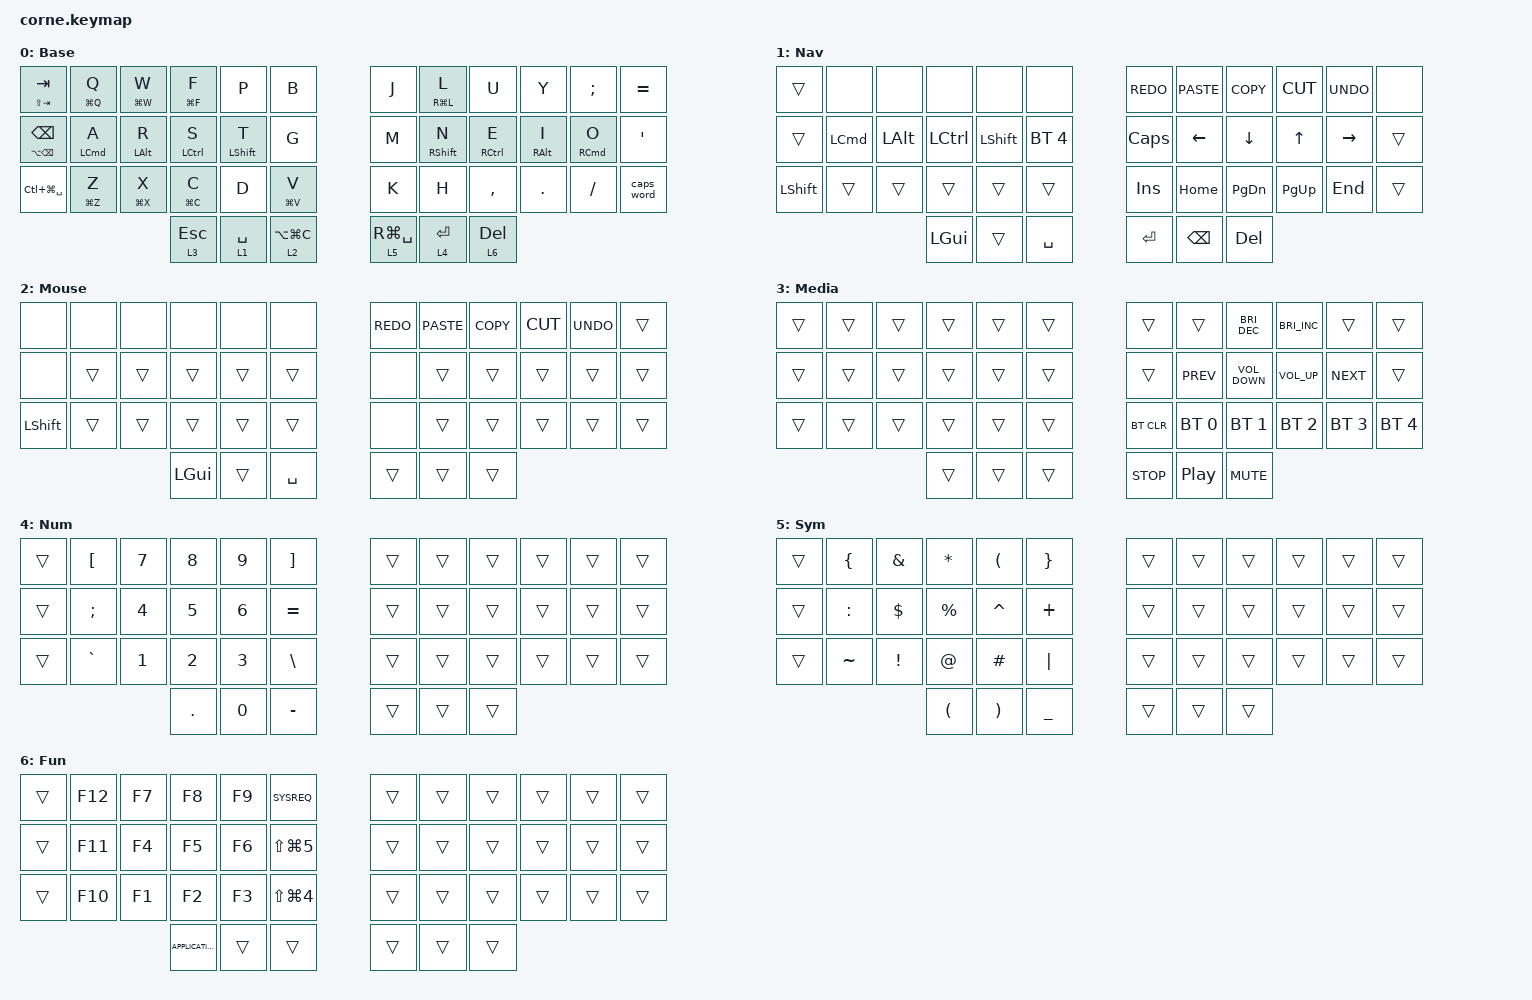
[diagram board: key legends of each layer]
/*
 * Copyright (c) 2020 The ZMK Contributors
 *
 * SPDX-License-Identifier: MIT
 */

#include <behaviors.dtsi>
#include <dt-bindings/zmk/bt.h>
#include <dt-bindings/zmk/keys.h>

&mt {
    tapping-term-ms = <180>;
    quick-tap-ms = <150>;
    global-quick-tap;
    flavor = "tap-preferred";
};

/ {
    keymap {
        compatible = "zmk,keymap";

        default_layer {
            // -----------------------------------------------------------------------------------------
            // |  TAB |  Q  |  W  |  E  |  R  |  T  |   |  Y  |  U   |  I  |  O  |  P  | BKSP |
            // | CTRL |  A  |  S  |  D  |  F  |  G  |   |  H  |  J   |  K  |  L  |  ;  |  '   |
            // | SHFT |  Z  |  X  |  C  |  V  |  B  |   |  N  |  M   |  ,  |  .  |  /  | ESC  |
            //                    | GUI | LWR | SPC |   | ENT | RSE  | ALT |

            label = "Base";
            bindings = <
&mt LS(TAB) TAB              &mt LG(Q) Q         &mt LG(W) W     &mt LG(F) F   &kp P         &kp B              &kp J            &mt RG(L) L  &kp U         &kp Y       &kp SEMICOLON  &kp EQUAL
&mt LA(BACKSPACE) BACKSPACE  &mt LEFT_COMMAND A  &mt LEFT_ALT R  &mt LCTRL S   &mt LSHIFT T  &kp G              &kp M            &mt RSHFT N  &mt RCTRL E   &mt RALT I  &mt RCMD O     &kp SQT
&kp LC(LG(SPACE))            &mt LG(Z) Z         &mt LG(X) X     &mt LG(C) C   &kp D         &mt LG(V) V        &kp K            &kp H        &kp COMMA     &kp DOT     &kp FSLH       &caps_word
                                                                 &lt 3 ESCAPE  &lt 1 SPACE   &lt 2 LA(LG(C))    &lt 5 RG(SPACE)  &lt 4 ENTER  &lt 6 DELETE
            >;
        };

        nav {
            // -----------------------------------------------------------------------------------------
            // |  TAB |  1  |  2  |  3  |  4  |  5  |   |  6  |  7  |  8  |  9  |  0  | BKSP |
            // | BTCLR| BT1 | BT2 | BT3 | BT4 | BT5 |   | LFT | DWN |  UP | RGT |     |      |
            // | SHFT |     |     |     |     |     |   |     |     |     |     |     |      |
            //                    | GUI |     | SPC |   | ENT |     | ALT |

            label = "Nav";
            bindings = <
&trans     &none     &none     &none      &none      &none           &kp K_REDO  &kp K_PASTE     &kp K_COPY      &kp K_CUT     &kp K_UNDO       &none
&trans     &kp LCMD  &kp LALT  &kp LCTRL  &kp LSHFT  &bt BT_SEL 4    &kp CAPS    &kp LEFT_ARROW  &kp DOWN_ARROW  &kp UP_ARROW  &kp RIGHT_ARROW  &trans
&kp LSHFT  &trans    &trans    &trans     &trans     &trans          &kp INS     &kp HOME        &kp PAGE_DOWN   &kp PAGE_UP   &kp END          &trans
                               &kp LGUI   &trans     &kp SPACE       &kp RET     &kp BACKSPACE   &kp DELETE
            >;
        };

        mouse {
            // -----------------------------------------------------------------------------------------
            // |  TAB |  !  |  @  |  #  |  $  |  %  |   |  ^  |  &  |  *  |  (  |  )  | BKSP |
            // | CTRL |     |     |     |     |     |   |  -  |  =  |  [  |  ]  |  \  |  `   |
            // | SHFT |     |     |     |     |     |   |  _  |  +  |  {  |  }  | "|" |  ~   |
            //                    | GUI |     | SPC |   | ENT |     | ALT |

            label = "Mouse";
            bindings = <
&none      &none   &none   &none     &none   &none        &kp K_REDO  &kp K_PASTE  &kp K_COPY  &kp K_CUT  &kp K_UNDO  &trans
&none      &trans  &trans  &trans    &trans  &trans       &none       &trans       &trans      &trans     &trans      &trans
&kp LSHFT  &trans  &trans  &trans    &trans  &trans       &none       &trans       &trans      &trans     &trans      &trans
                           &kp LGUI  &trans  &kp SPACE    &trans      &trans       &trans
            >;
        };

        media {
            bindings = <
&trans  &trans  &trans  &trans  &trans  &trans    &trans      &trans            &kp C_BRIGHTNESS_DEC  &kp C_BRIGHTNESS_INC  &trans        &trans
&trans  &trans  &trans  &trans  &trans  &trans    &trans      &kp C_PREV        &kp C_VOLUME_DOWN     &kp C_VOLUME_UP       &kp C_NEXT    &trans
&trans  &trans  &trans  &trans  &trans  &trans    &bt BT_CLR  &bt BT_SEL 0      &bt BT_SEL 1          &bt BT_SEL 2          &bt BT_SEL 3  &bt BT_SEL 4
                        &trans  &trans  &trans    &kp C_STOP  &kp C_PLAY_PAUSE  &kp K_MUTE
            >;

            label = "Media";
        };

        num {
            bindings = <
&trans  &kp LEFT_BRACKET  &kp NUMBER_7  &kp NUMBER_8  &kp NUMBER_9  &kp RIGHT_BRACKET    &trans  &trans  &trans  &trans  &trans  &trans
&trans  &kp SEMICOLON     &kp NUMBER_4  &kp NUMBER_5  &kp NUMBER_6  &kp EQUAL            &trans  &trans  &trans  &trans  &trans  &trans
&trans  &kp GRAVE         &kp NUMBER_1  &kp NUMBER_2  &kp NUMBER_3  &kp BACKSLASH        &trans  &trans  &trans  &trans  &trans  &trans
                                        &kp PERIOD    &kp NUMBER_0  &kp MINUS            &trans  &trans  &trans
            >;

            label = "Num";
        };

        sym {
            bindings = <
&trans  &kp LEFT_BRACE  &kp AMPERSAND    &kp ASTERISK          &kp LEFT_PARENTHESIS   &kp RIGHT_BRACE    &trans  &trans  &trans  &trans  &trans  &trans
&trans  &kp COLON       &kp DOLLAR       &kp PERCENT           &kp CARET              &kp PLUS           &trans  &trans  &trans  &trans  &trans  &trans
&trans  &kp TILDE       &kp EXCLAMATION  &kp AT                &kp HASH               &kp PIPE           &trans  &trans  &trans  &trans  &trans  &trans
                                         &kp LEFT_PARENTHESIS  &kp RIGHT_PARENTHESIS  &kp UNDERSCORE     &trans  &trans  &trans
            >;

            label = "Sym";
        };

        fun {
            bindings = <
&trans  &kp F12  &kp F7  &kp F8             &kp F9  &kp SYSREQ              &trans  &trans  &trans  &trans  &trans  &trans
&trans  &kp F11  &kp F4  &kp F5             &kp F6  &kp LS(LG(N5))          &trans  &trans  &trans  &trans  &trans  &trans
&trans  &kp F10  &kp F1  &kp F2             &kp F3  &kp LS(LG(NUMBER_4))    &trans  &trans  &trans  &trans  &trans  &trans
                         &kp K_APPLICATION  &trans  &trans                  &trans  &trans  &trans
            >;

            label = "Fun";
        };
    };
};
